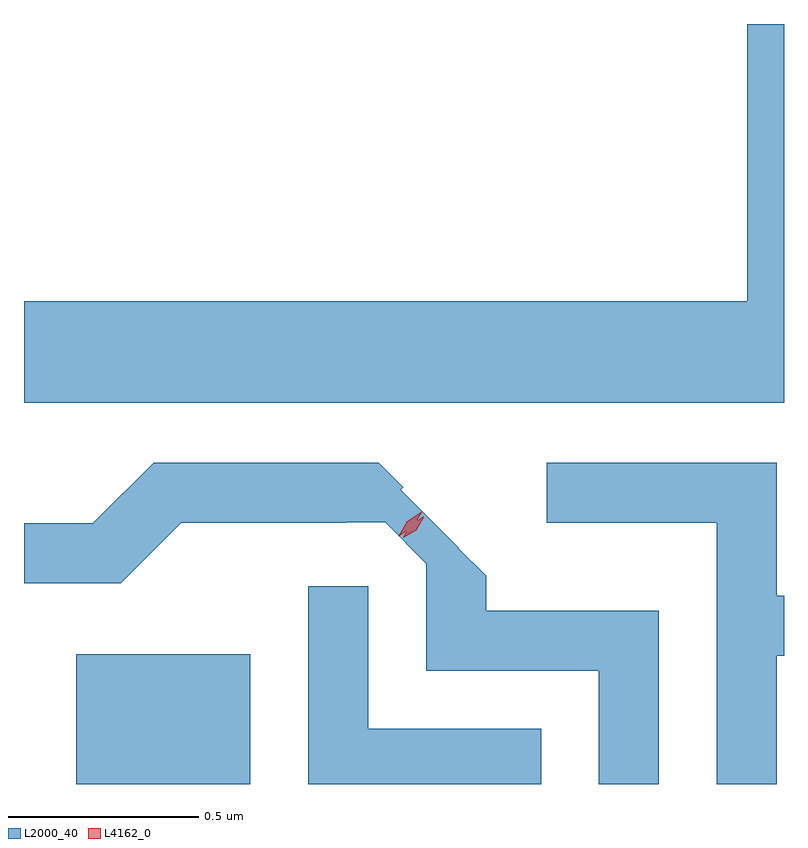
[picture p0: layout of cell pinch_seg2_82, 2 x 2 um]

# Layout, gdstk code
import gdstk
lib = gdstk.Library(unit=1e-6, precision=1e-09)
def R(c, l, rs):  # rectangles x0, y0, x1, y1
    for r in rs: c.add(gdstk.rectangle(r[:2], r[2:], *l))
def P(c, l, *ps):  # polygons
    for p in ps: c.add(gdstk.Polygon(p, *l))
L2000_40 = (2000, 40)
L4162_0 = (4162, 0)

pinch_seg2_82 = lib.new_cell('pinch_seg2_82')
R(pinch_seg2_82, L2000_40, [(1246.596,994.033,1247.054,994.374)])
P(pinch_seg2_82, L2000_40, [(1248.458,996.033),(1248.361,996.033),(1248.361,995.304),(1246.458,995.304),(1246.458,995.036),(1248.458,995.036)],
  [(1248.129,994.489),(1247.674,994.489),(1247.674,994.581),(1247.601,994.654),(1247.602,994.655),(1247.45,994.807),(1247.456,994.814),(1247.391,994.879),(1246.799,994.879),(1246.639,994.719),(1246.458,994.719),(1246.458,994.561),(1246.712,994.561),(1246.872,994.721),(1247.305,994.721),(1247.305,994.722),(1247.408,994.722),(1247.517,994.613),(1247.517,994.485),(1247.516,994.485),(1247.516,994.331),(1247.971,994.331),(1247.971,994.033),(1248.129,994.033)],
  [(1248.439,994.371),(1248.458,994.371),(1248.458,994.529),(1248.439,994.529),(1248.439,994.879),(1247.833,994.879),(1247.833,994.721),(1248.281,994.721),(1248.281,994.033),(1248.439,994.033)],
  [(1247.819,994.179),(1247.364,994.179),(1247.364,994.553),(1247.206,994.553),(1247.206,994.033),(1247.819,994.033)])
P(pinch_seg2_82, L4162_0, [(1247.456,994.681),(1247.456,994.682),(1247.476,994.715),(1247.509,994.736),(1247.51,994.736),(1247.51,994.735),(1247.49,994.701),(1247.456,994.681)],
  [(1247.444,994.685),(1247.444,994.686),(1247.467,994.724),(1247.505,994.749),(1247.505,994.749),(1247.505,994.748),(1247.482,994.71),(1247.444,994.685)])

lib.write_gds('pinch_seg2_82.gds')
